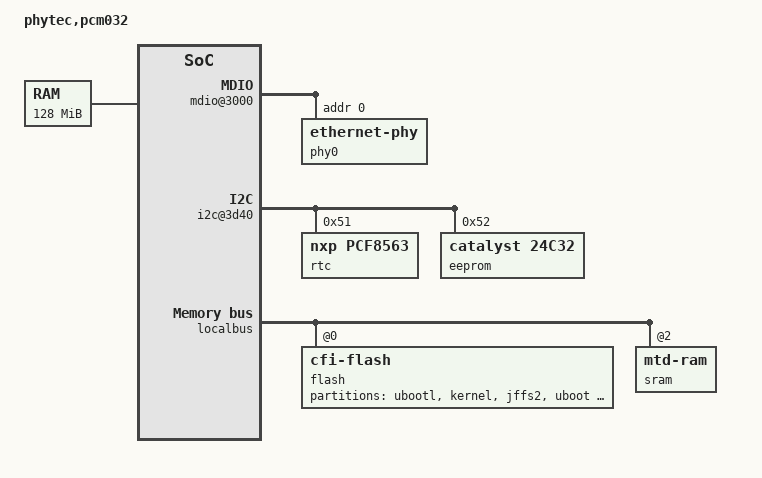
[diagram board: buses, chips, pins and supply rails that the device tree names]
// SPDX-License-Identifier: GPL-2.0-or-later
/*
 * phyCORE-MPC5200B-IO (pcm032) board Device Tree Source
 *
 * Copyright (C) 2006-2009 Pengutronix
 * Sascha Hauer, Juergen Beisert, Wolfram Sang <kernel@pengutronix.de>
 */

/include/ "mpc5200b.dtsi"

&gpt0 { fsl,has-wdt; };
&gpt2 { gpio-controller; };
&gpt3 { gpio-controller; };
&gpt4 { gpio-controller; };
&gpt5 { gpio-controller; };
&gpt6 { gpio-controller; };
&gpt7 { gpio-controller; };

/ {
	model = "phytec,pcm032";
	compatible = "phytec,pcm032";

	memory@0 {
		reg = <0x00000000 0x08000000>;	// 128MB
	};

	soc5200@f0000000 {
		psc@2000 {	/* PSC1 is ac97 */
			compatible = "fsl,mpc5200b-psc-ac97","fsl,mpc5200-psc-ac97";
			cell-index = <0>;
		};

		/* PSC2 port is used by CAN1/2 */
		psc@2200 {
			status = "disabled";
		};

		psc@2400 { /* PSC3 in UART mode */
			compatible = "fsl,mpc5200b-psc-uart","fsl,mpc5200-psc-uart";
		};

		/* PSC4 is ??? */
		psc@2600 {
			status = "disabled";
		};

		/* PSC5 is ??? */
		psc@2800 {
			status = "disabled";
		};

		psc@2c00 { /* PSC6 in UART mode */
			compatible = "fsl,mpc5200b-psc-uart","fsl,mpc5200-psc-uart";
		};

		ethernet@3000 {
			phy-handle = <&phy0>;
		};

		mdio@3000 {
			phy0: ethernet-phy@0 {
				reg = <0>;
			};
		};

		i2c@3d40 {
			rtc@51 {
				compatible = "nxp,pcf8563";
				reg = <0x51>;
			};
			eeprom@52 {
				compatible = "catalyst,24c32", "atmel,24c32";
				reg = <0x52>;
				pagesize = <32>;
			};
		};
	};

	pci@f0000d00 {
		interrupt-map-mask = <0xf800 0 0 7>;
		interrupt-map = <0xc000 0 0 1 &mpc5200_pic 0 0 3 // 1st slot
				 0xc000 0 0 2 &mpc5200_pic 1 1 3
				 0xc000 0 0 3 &mpc5200_pic 1 2 3
				 0xc000 0 0 4 &mpc5200_pic 1 3 3

				 0xc800 0 0 1 &mpc5200_pic 1 1 3 // 2nd slot
				 0xc800 0 0 2 &mpc5200_pic 1 2 3
				 0xc800 0 0 3 &mpc5200_pic 1 3 3
				 0xc800 0 0 4 &mpc5200_pic 0 0 3>;
		ranges = <0x42000000 0 0x80000000 0x80000000 0 0x20000000
			  0x02000000 0 0xa0000000 0xa0000000 0 0x10000000
			  0x01000000 0 0x00000000 0xb0000000 0 0x01000000>;
	};

	localbus {
		ranges = <0 0 0xfe000000 0x02000000
			  1 0 0xfc000000 0x02000000
			  2 0 0xfbe00000 0x00200000
			  3 0 0xf9e00000 0x02000000
			  4 0 0xf7e00000 0x02000000
			  5 0 0xe6000000 0x02000000
			  6 0 0xe8000000 0x02000000
			  7 0 0xea000000 0x02000000>;

		flash@0,0 {
			compatible = "cfi-flash";
			reg = <0 0 0x02000000>;
			bank-width = <4>;
			#size-cells = <1>;
			#address-cells = <1>;

			partition@0 {
				label = "ubootl";
				reg = <0x00000000 0x00040000>;
			};
			partition@40000 {
				label = "kernel";
				reg = <0x00040000 0x001c0000>;
			};
			partition@200000 {
				label = "jffs2";
				reg = <0x00200000 0x01d00000>;
			};
			partition@1f00000 {
				label = "uboot";
				reg = <0x01f00000 0x00040000>;
			};
			partition@1f40000 {
				label = "env";
				reg = <0x01f40000 0x00040000>;
			};
			partition@1f80000 {
				label = "oftree";
				reg = <0x01f80000 0x00040000>;
			};
			partition@1fc0000 {
				label = "space";
				reg = <0x01fc0000 0x00040000>;
			};
		};

		sram@2,0 {
			compatible = "mtd-ram";
			reg = <2 0 0x00200000>;
			bank-width = <2>;
		};

		/*
		 * example snippets for FPGA
		 *
		 * fpga@3,0 {
		 *	 compatible = "fpga_driver";
		 *	 reg = <3 0 0x02000000>;
		 *	 bank-width = <4>;
		 * };
		 *
		 * fpga@4,0 {
		 *	 compatible = "fpga_driver";
		 *	 reg = <4 0 0x02000000>;
		 *	 bank-width = <4>;
		 * };
		 */

		/*
		 * example snippets for free chipselects
		 *
		 * device@5,0 {
		 *	 compatible = "custom_driver";
		 *	 reg = <5 0 0x02000000>;
		 * };
		 *
		 * device@6,0 {
		 *	 compatible = "custom_driver";
		 *	 reg = <6 0 0x02000000>;
		 * };
		 *
		 * device@7,0 {
		 *	 compatible = "custom_driver";
		 *	 reg = <7 0 0x02000000>;
		 * };
		 */
	};
};
